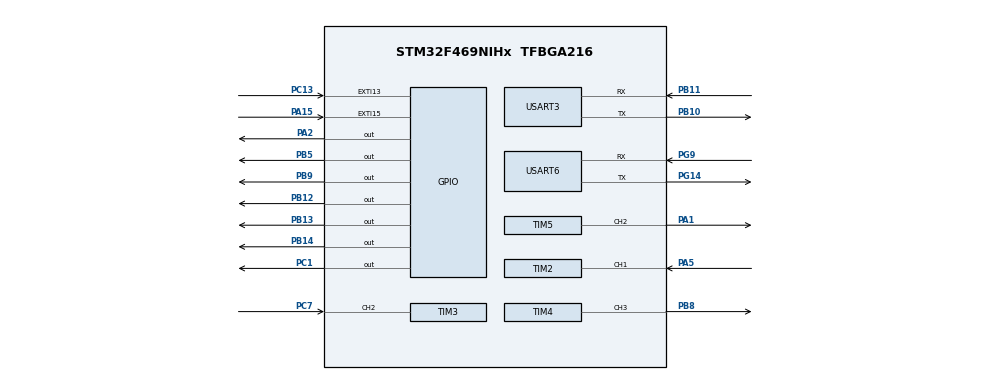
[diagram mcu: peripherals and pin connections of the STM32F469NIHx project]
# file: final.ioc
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Mcu.Family=STM32F4
Mcu.Name=STM32F469NIHx
Mcu.Package=TFBGA216
NVIC.EXTI15_10_IRQn=true\:0\:0\:false\:false\:true\:true
NVIC.PriorityGroup=NVIC_PRIORITYGROUP_4
NVIC.TIM1_UP_TIM10_IRQn=true\:0\:0\:false\:false\:true\:true
NVIC.TIM2_IRQn=true\:0\:0\:false\:false\:true\:true
NVIC.TIM3_IRQn=true\:0\:0\:false\:false\:true\:true
NVIC.TIM4_IRQn=true\:0\:0\:false\:false\:true\:true
NVIC.TIM5_IRQn=true\:0\:0\:false\:false\:true\:true
NVIC.USART3_IRQn=true\:0\:0\:false\:false\:true\:true
NVIC.USART6_IRQn=true\:0\:0\:false\:false\:true\:true
PA1.Signal=S_TIM5_CH2
PA15.GPIO_PuPd=GPIO_PULLDOWN
PA15.Signal=GPXTI15
PA2.Signal=GPIO_Output
PA5.Signal=S_TIM2_CH1_ETR
PB10.Mode=Asynchronous
PB10.Signal=USART3_TX
PB11.Mode=Asynchronous
PB11.Signal=USART3_RX
PB12.Signal=GPIO_Output
PB13.Signal=GPIO_Output
PB14.Signal=GPIO_Output
PB5.Signal=GPIO_Output
PB8.Signal=S_TIM4_CH3
PB9.Signal=GPIO_Output
PC1.Signal=GPIO_Output
PC13.GPIO_PuPd=GPIO_PULLDOWN
PC13.Signal=GPXTI13
PC7.Signal=S_TIM3_CH2
PG14.Mode=Asynchronous
PG14.Signal=USART6_TX
PG9.Mode=Asynchronous
PG9.Signal=USART6_RX
ProjectManager.HeapSize=0x200
ProjectManager.StackSize=0x400
ProjectManager.TargetToolchain=TrueSTUDIO
RCC.CortexFreq_Value=16000000
RCC.VCOOutputFreq_Value=192000000
SH.S_TIM2_CH1_ETR.0=TIM2_CH1,Input_Capture1_from_TI1
SH.S_TIM3_CH2.0=TIM3_CH2,Input_Capture2_from_TI2
SH.S_TIM4_CH3.0=TIM4_CH3,PWM Generation3 CH3
SH.S_TIM5_CH2.0=TIM5_CH2,PWM Generation2 CH2
TIM1.Period=10
TIM1.Prescaler=15
TIM2.Channel-Input_Capture1_from_TI1=TIM_CHANNEL_1
TIM2.ICPolarity_CH1=TIM_INPUTCHANNELPOLARITY_BOTHEDGE
TIM2.Period=0xffffffff
TIM2.Prescaler=7
TIM3.Channel-Input_Capture2_from_TI2=TIM_CHANNEL_2
TIM3.ICPolarity_CH2=TIM_INPUTCHANNELPOLARITY_BOTHEDGE
TIM3.Period=0xffff
TIM3.Prescaler=7
TIM4.Channel-PWM\ Generation3\ CH3=TIM_CHANNEL_3
TIM4.Period=100
TIM4.Prescaler=15
TIM4.Pulse-PWM\ Generation3\ CH3=90
TIM5.Channel-PWM\ Generation2\ CH2=TIM_CHANNEL_2
TIM5.Period=1000
TIM5.Prescaler=15
TIM5.Pulse-PWM\ Generation2\ CH2=500
USART3.VirtualMode=VM_ASYNC
USART6.VirtualMode=VM_ASYNC
VP_TIM1_VS_ClockSourceINT.Mode=Internal
board=final

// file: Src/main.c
/**
  ******************************************************************************
  * @file           : main.c
  * @brief          : Main program body
  ******************************************************************************
  ** This notice applies to any and all portions of this file
  * that are not between comment pairs USER CODE BEGIN and
  * USER CODE END. Other portions of this file, whether
  * inserted by the user or by software development tools
  * are owned by their respective copyright owners.
  *
  * COPYRIGHT(c) 2018 STMicroelectronics
  *
  * Redistribution and use in source and binary forms, with or without modification,
  * are permitted provided that the following conditions are met:
  *   1. Redistributions of source code must retain the above copyright notice,
  *      this list of conditions and the following disclaimer.
  *   2. Redistributions in binary form must reproduce the above copyright notice,
  *      this list of conditions and the following disclaimer in the documentation
  *      and/or other materials provided with the distribution.
  *   3. Neither the name of STMicroelectronics nor the names of its contributors
  *      may be used to endorse or promote products derived from this software
  *      without specific prior written permission.
  *
  * THIS SOFTWARE IS PROVIDED BY THE COPYRIGHT HOLDERS AND CONTRIBUTORS "AS IS"
  * AND ANY EXPRESS OR IMPLIED WARRANTIES, INCLUDING, BUT NOT LIMITED TO, THE
  * IMPLIED WARRANTIES OF MERCHANTABILITY AND FITNESS FOR A PARTICULAR PURPOSE ARE
  * DISCLAIMED. IN NO EVENT SHALL THE COPYRIGHT HOLDER OR CONTRIBUTORS BE LIABLE
  * FOR ANY DIRECT, INDIRECT, INCIDENTAL, SPECIAL, EXEMPLARY, OR CONSEQUENTIAL
  * DAMAGES (INCLUDING, BUT NOT LIMITED TO, PROCUREMENT OF SUBSTITUTE GOODS OR
  * SERVICES; LOSS OF USE, DATA, OR PROFITS; OR BUSINESS INTERRUPTION) HOWEVER
  * CAUSED AND ON ANY THEORY OF LIABILITY, WHETHER IN CONTRACT, STRICT LIABILITY,
  * OR TORT (INCLUDING NEGLIGENCE OR OTHERWISE) ARISING IN ANY WAY OUT OF THE USE
  * OF THIS SOFTWARE, EVEN IF ADVISED OF THE POSSIBILITY OF SUCH DAMAGE.
  *
  ******************************************************************************
  */
#include "main.h"
#include "stm32f4xx_hal.h"

TIM_HandleTypeDef htim1;
TIM_HandleTypeDef htim2;
TIM_HandleTypeDef htim3;
TIM_HandleTypeDef htim4;
TIM_HandleTypeDef htim5;

UART_HandleTypeDef huart3;
UART_HandleTypeDef huart6;

/* USER CODE BEGIN PV */
/* Private variables ---------------------------------------------------------*/
#define GET_DISTANCE_TIME 3
#define L_OFFSET 0
#define R_OFFSET 0
#define LRCALI_MINVALUE 0.2
#define LRCALI_MINRANGE 0.025
#define LRCALI_MAXVALUE 12
#define LRCALI_MAX_DIFFERENCE_VALUE 1.5
#define LRCALI_PWMWIDTH 700
#define LRCALI_ULPERIOD 7000 // xK = x us
#define LRCALI_SUCCESS_TIME 2
int AFCALI_PWMWIDTH = 500;
#define AFCALI_EX_PWMWIDTH 100

#define A4988_PWM_GRP GPIOA
#define A4988_PWM_PIN GPIO_PIN_1
#define A4988_DIR_GRP GPIOA  //GPIOG
#define A4988_DIR_PIN GPIO_PIN_2  //GPIO_PIN_12
#define LULT_TRIG_GRP GPIOB
#define LULT_TRIG_PIN GPIO_PIN_5
#define LULT_ECHO_GRP GPIOA
#define LULT_ECHO_PIN GPIO_PIN_5
#define RULT_TRIG_GRP GPIOB
#define RULT_TRIG_PIN GPIO_PIN_13
#define RULT_ECHO_GRP GPIOC
#define RULT_ECHO_PIN GPIO_PIN_7
#define DCMOT_PWM_GRP GPIOB
#define DCMOT_PWM_PIN GPIO_PIN_8
#define DCMOT_DIR_GRP GPIOB
#define DCMOT_DIR_PIN GPIO_PIN_14
/* USER CODE END PV */

void SystemClock_Config(void);
static void MX_GPIO_Init(void);
static void MX_TIM2_Init(void);
static void MX_USART6_UART_Init(void);
static void MX_TIM5_Init(void);
static void MX_TIM3_Init(void);
static void MX_TIM4_Init(void);
static void MX_TIM1_Init(void);
static void MX_USART3_UART_Init(void);

void HAL_TIM_MspPostInit(TIM_HandleTypeDef *htim);

/* USER CODE BEGIN PFP */
/* Private function prototypes -----------------------------------------------*/
void sendMsg(char*);
void tellWifi(char*);
void wifiInit();
void LRCalibrate(double,double);
/* USER CODE END PFP */

/* USER CODE BEGIN 0 */

//str to int
int str2int(char* str){
	int ans=0;
	for(int i=1;i<strlen(str)-1;i++){
		ans*=10;
		ans+=(str[i]-'0');
	}
	return ans;
}

// Sending msg to UART3
void sendMsg(char* str){
	HAL_UART_Transmit(&huart3,str,strlen(str),0xffff);
}

// Sending msg to UART6
void tellWifi(char* str){
	HAL_UART_Transmit(&huart6,str,strlen(str),0xffff);
}

void sendMsgThrWifi(char* str){
  char tosend[20]={0};
  sprintf(tosend,"AT+CIPSEND=0,%d\r\n",strlen(str));
  tellWifi(tosend);
  HAL_Delay(500);
  sprintf(tosend,"%s\r\n",str);
  tellWifi(tosend);
}

// Handling UART Receive
char rx6_buf[100],rx6_data,rx3_buf[100],rx3_data,state;
int rx6_index=0,rx3_index=0;
char state=0;
int recvNum=0;
void HAL_UART_RxCpltCallback(UART_HandleTypeDef *huart){
	if(huart->Instance==USART3){
		if(rx3_data=='U'){
			HAL_GPIO_WritePin(GPIOG,GPIO_PIN_12,1);
			HAL_TIM_PWM_Start_IT(&htim5,TIM_CHANNEL_2);
		}else if(rx3_data=='D'){
			HAL_GPIO_WritePin(GPIOG,GPIO_PIN_12,0);
			HAL_TIM_PWM_Start_IT(&htim5,TIM_CHANNEL_2);
		}else{
			if(rx3_index==0){
				for(int i=0;i<100;i++){
					rx3_buf[i]=0;
				}
			}
			rx3_buf[rx3_index++]=rx3_data;
			if(rx3_data=='\n'){
				rx3_index=0;
				char tosend[200]={0};
				sprintf(tosend,"[STM] Send to ESP : %s",rx3_buf);
				sendMsg(tosend);
				tellWifi(rx3_buf);
				sendMsg("[STM] Done\r\n");
			}
			HAL_UART_Receive_IT(&huart3,&rx3_data,1);
		}

	}
  if(huart->Instance==USART6){
	  	  if(rx6_index==0){
	  			for(int i=0;i<100;i++){
	  				rx6_buf[i]=0;
	  			}
	  	  }
	  	  if(rx6_data=='$' || rx6_index>0){
	  		  rx6_buf[rx6_index++]=rx6_data;
	  	  }
	  	  if(rx6_data=='%'){

			    char tosend[10]={0};
			    sprintf(tosend,"[ESP] %s\r\n",rx6_buf);
			    sendMsg(tosend);
			    if(rx6_index==3){
			    	state=rx6_buf[rx6_index-2];
			    }else{
			    	state='R';
			    	recvNum=str2int(rx6_buf);
			    }
			    rx6_index=0;
	  	  }
	  	HAL_UART_Receive_IT(&huart6,&rx6_data,1);
	}
}

// Handling wifi initialize
void wifiInit(){
	tellWifi("AT+CWMODE=2\r\n");
	HAL_Delay(500);
	tellWifi("AT+CIPMUX=1\r\n");
	HAL_Delay(500);

	tellWifi("AT+CIPSERVER=1,66\r\n");
	HAL_Delay(500);
	tellWifi("AT+CIPSTO=0\r\n");
	HAL_Delay(500);
}

// Handling LR calibration
int inta=0,intb=0,floata=0,floatb=0;
double distancea=0,distanceb=0;
double distancea_final=0,distanceb_final=0;
int ultrasonic=0;  // 0 for Ultrasonic1 , 1 for ultrasonic2 , 2 for motor
int LRCALI_STATE=0;
int motorMoveDone=0;
void LRCalibrate(double dl,double dr){
	  char tosend[50]={0};
	  inta=(int)dl;
	  floata=(int)((dl-inta)*100);
	  intb=(int)dr;
	  floatb=(int)((dr-intb)*100);
	  if(dl*LRCALI_MAXVALUE>dr && dr*LRCALI_MAXVALUE>dl){
		  if( (dr-dl)>LRCALI_MINVALUE ||(dl-dr)>LRCALI_MINVALUE ){
			  if(dl>dr){
				  sprintf(tosend,"> %d.%02d , %d.%02d -> Turn R\r\n",inta,floata,intb,floatb);
				  sendMsg(tosend);
				  HAL_GPIO_WritePin(DCMOT_DIR_GRP,DCMOT_DIR_PIN,1);
				  sprintf(tosend,"> > ReadPin: %d\r\n",HAL_GPIO_ReadPin(DCMOT_DIR_GRP,DCMOT_DIR_PIN));
				  sendMsg(tosend);
				  LRCALI_STATE=0;
				  motorMoveDone=0;
				  HAL_TIM_PWM_Start_IT(&htim4,TIM_CHANNEL_3);
			  }else if(dl<dr){
				  sprintf(tosend,"> %d.%02d , %d.%02d -> Turn L\r\n",inta,floata,intb,floatb);
				  sendMsg(tosend);
				  HAL_GPIO_WritePin(DCMOT_DIR_GRP,DCMOT_DIR_PIN,0);
				  sprintf(tosend,"> > ReadPin: %d\r\n",HAL_GPIO_ReadPin(DCMOT_DIR_GRP,DCMOT_DIR_PIN));
				  sendMsg(tosend);
				  motorMoveDone=0;
				  LRCALI_STATE=0;
				  HAL_TIM_PWM_Start_IT(&htim4,TIM_CHANNEL_3);
			  }
		  }else{
			  sprintf(tosend,"> %d.%02d , %d.%02d -> DONE\r\n",inta,floata,intb,floatb);
			  sendMsg(tosend);
			  LRCALI_STATE++;
			  motorMoveDone=1;
			  //return;
		  }
	  }else{
		  sprintf(tosend,"> %d.%02d , %d.%02d -> X\r\n",inta,floata,intb,floatb);
		  sendMsg(tosend);
	  }

	  ultrasonic=0;
}

// Handling Ultrasonic Echo InputCapture
void HAL_TIM_IC_CaptureCallback(TIM_HandleTypeDef* htim){
	if(htim->Instance==TIM2){
		if(HAL_GPIO_ReadPin(LULT_ECHO_GRP,LULT_ECHO_PIN)==1){
			__HAL_TIM_SET_COUNTER(&htim2,0);
		}else{
			int cnt=__HAL_TIM_GET_COUNTER(&htim2);
			distancea=(cnt/(double)116);
			distancea+=L_OFFSET;
			ultrasonic=1;
		}
	}
	if(htim->Instance==TIM3){
		if(HAL_GPIO_ReadPin(RULT_ECHO_GRP,RULT_ECHO_PIN)==1){
			__HAL_TIM_SET_COUNTER(&htim3,0);
		}else{
			int cnt=__HAL_TIM_GET_COUNTER(&htim3);
			distanceb=(cnt/(double)116);
			distanceb+=R_OFFSET;
			ultrasonic=2;
		}
	}
}

// A 10 us timer for ultrasonic interval
int tim1Count=LRCALI_ULPERIOD;
void HAL_TIM_PeriodElapsedCallback(TIM_HandleTypeDef *htim){
	if(htim->Instance==TIM1){
		if(tim1Count<LRCALI_ULPERIOD){
			tim1Count++;
		}else{
			HAL_TIM_Base_Stop_IT(&htim1);
			if(ultrasonic==0){
				if(HAL_GPIO_ReadPin(LULT_TRIG_GRP,LULT_TRIG_PIN)==0){
					HAL_GPIO_WritePin(LULT_TRIG_GRP,LULT_TRIG_PIN,1);
					HAL_TIM_Base_Start_IT(&htim1);
				}else{
					tim1Count=0;
					HAL_GPIO_WritePin(LULT_TRIG_GRP,LULT_TRIG_PIN,0);
				}
			}else if(ultrasonic==1){
				if(HAL_GPIO_ReadPin(RULT_TRIG_GRP,RULT_TRIG_PIN)==0){
					HAL_GPIO_WritePin(RULT_TRIG_GRP,RULT_TRIG_PIN,1);
					HAL_TIM_Base_Start_IT(&htim1);
				}else{
					tim1Count=0;
					HAL_GPIO_WritePin(RULT_TRIG_GRP,RULT_TRIG_PIN,0);
				}
			}
		}
	}
}

// Handling PWM Pulse
int pwm5Count=0,pwm4Count=0,a4988MoveDone=0,accumMove=0;
char focusStepState='N'; //N for normal, E for extreme
void HAL_TIM_PWM_PulseFinishedCallback(TIM_HandleTypeDef *htim){
  //DC MOTOR PWM
  if(htim->Instance==TIM4){
		if(pwm4Count++>=LRCALI_PWMWIDTH){
			HAL_TIM_PWM_Stop_IT(&htim4,TIM_CHANNEL_3);
			pwm4Count=0;
			motorMoveDone=1;
		}
	}
  //A4988 PWM
  if(htim->Instance==TIM5){
	  if(focusStepState=='N'){
		if(pwm5Count++>=AFCALI_PWMWIDTH){
			HAL_TIM_PWM_Stop_IT(&htim5,TIM_CHANNEL_2);
			pwm5Count=0;
			accumMove+=1;
			a4988MoveDone=1;
		}
	  }else{
		if(pwm5Count++>=AFCALI_EX_PWMWIDTH){
			HAL_TIM_PWM_Stop_IT(&htim5,TIM_CHANNEL_2);
			pwm5Count=0;
			a4988MoveDone=1;
			focusStepState='N';
			sendMsg("[STM] Recover Done\r\n");
		}
	  }
	}
}

char pwmMode='N'; //N for normal , I for IT
char focusState='N'; // N for normal, T for top, B for Bottom

// TODO Handling TOP BUTTOM
void HAL_GPIO_EXTI_Callback(uint16_t GPIO_Pin){
	if(GPIO_Pin==GPIO_PIN_13){
		//top
		if(pwmMode=='N'){
			HAL_TIM_PWM_Stop_IT(&htim5,TIM_CHANNEL_2);
		}else{
			HAL_TIM_PWM_Stop(&htim5,TIM_CHANNEL_2);
		}
		focusStepState='E';
		HAL_GPIO_WritePin(A4988_DIR_GRP,A4988_DIR_PIN,0);
		HAL_TIM_PWM_Start_IT(&htim5,TIM_CHANNEL_2);
		pwm5Count=0;
		focusState='T';
		a4988MoveDone=1;
	    sendMsg("[STM] <<TOP>>\r\n");

	}else if(GPIO_Pin==GPIO_PIN_15){
		//bottom
		if(pwmMode=='N'){
			HAL_TIM_PWM_Stop_IT(&htim5,TIM_CHANNEL_2);
		}else{
			HAL_TIM_PWM_Stop(&htim5,TIM_CHANNEL_2);
		}
		HAL_GPIO_WritePin(A4988_DIR_GRP,A4988_DIR_PIN,1);
		focusStepState='E';
		HAL_TIM_PWM_Start_IT(&htim5,TIM_CHANNEL_2);
		pwm5Count=0;
		focusState='B';
		a4988MoveDone=1;
		sendMsg("[STM] <<BOTTOM>>\r\n");
	}
}

/* USER CODE END 0 */

int main(void)
{

  /* MCU Configuration----------------------------------------------------------*/

  /* Reset of all peripherals, Initializes the Flash interface and the Systick. */
  HAL_Init();

  /* Configure the system clock */
  SystemClock_Config();

  /* Initialize all configured peripherals */
  MX_GPIO_Init();
  MX_TIM2_Init();
  MX_USART6_UART_Init();
  MX_TIM5_Init();
  MX_TIM3_Init();
  MX_TIM4_Init();
  MX_TIM1_Init();
  MX_USART3_UART_Init();
  /* USER CODE BEGIN 2 */
  sendMsg("[STM] Initializing Board...\r\n");
  HAL_UART_Receive_IT(&huart6,&rx6_data,1);
  HAL_UART_Receive_IT(&huart3,&rx3_data,1);
  HAL_GPIO_WritePin(GPIOC,GPIO_PIN_1,1);
  HAL_GPIO_WritePin(GPIOB,GPIO_PIN_12,1);
  TIM4->CCR3=0;
  sendMsg("[STM] Board Ready\r\n");
  HAL_Delay(500);

  sendMsg("[STM] Initializing Wifi...\r\n");
  HAL_Delay(500);

  //wifiInit();

	tellWifi("AT+CWMODE=2\r\n");
	HAL_Delay(500);
	tellWifi("AT+CIPMUX=1\r\n");
	HAL_Delay(500);
	tellWifi("AT+CIPSTO=0\r\n");
	HAL_Delay(500);
	tellWifi("AT+CIPSERVER=1,66\r\n");
	HAL_Delay(500);

  sendMsg("[STM] Wifi Ready\r\n");
  HAL_Delay(500);

  sendMsg("[STM] Wait for APP. (Please connect to AP:Projector)");

  while(state!='S'){
	  HAL_Delay(100);
  }

  //LR Calibration
  HAL_TIM_IC_Start_IT(&htim2,TIM_CHANNEL_1);
  HAL_TIM_IC_Start_IT(&htim3,TIM_CHANNEL_2);

  sendMsg("[STM] LR-Calibration START\r\n");
  HAL_Delay(500);
  int LR_done=0;
  while(LRCALI_STATE != LRCALI_SUCCESS_TIME){
	  distancea_final=0;
	  distanceb_final=0;
	  for(int i=0;i<GET_DISTANCE_TIME;i++){
		  char tosend[50]={0};

		  HAL_TIM_Base_Start_IT(&htim1);
		  while(ultrasonic!=1){
			  HAL_Delay(100);
		  }
		  HAL_TIM_Base_Start_IT(&htim1);
		  while(ultrasonic!=2){
			  HAL_Delay(100);
		  }
		  ultrasonic=0;
		  inta=(int)distancea;
		  floata=(int)((distancea-inta)*100);
		  intb=(int)distanceb;
		  floatb=(int)((distanceb-intb)*100);
		  if( distancea-distanceb<LRCALI_MAX_DIFFERENCE_VALUE && distanceb-distancea<LRCALI_MAX_DIFFERENCE_VALUE ){
			  sprintf(tosend,"[ULT] Getting distance... %d.%02d,%d.%02d -> Write\r\n",inta,floata,intb,floatb);
			  //sendMsg(tosend);
			  distancea_final+=distancea;
			  distanceb_final+=distanceb;
		  }else{
			  sprintf(tosend,"[ULT] Getting distance... %d.%02d,%d.%02d -> Pass\r\n",inta,floata,intb,floatb);
			  //sendMsg(tosend);
			  i--;
		  }
	  }
	  ultrasonic=2;
	  distancea_final/=GET_DISTANCE_TIME;
	  distanceb_final/=GET_DISTANCE_TIME;
	  LRCalibrate(distancea_final,distanceb_final);
	  while(!motorMoveDone){
		  HAL_Delay(100);
	  }
	  HAL_Delay(50);
  }

  HAL_Delay(1000);
  sendMsg("[STM] LR-Calibration FINISH\r\n");

  //TODO AF communication and flow
  sendMsg("[STM] Focus-Calibration START\r\n");
  //move to bottom
  HAL_GPIO_WritePin(A4988_DIR_GRP,A4988_DIR_PIN,0);
  pwmMode='N';
  HAL_TIM_PWM_Start(&htim5,TIM_CHANNEL_2);
  while(focusState!='B'){
	  HAL_Delay(100);
  }

  //move upward and send 'N' after moving until TOP (send 'T')
  HAL_Delay(500);
  sendMsgThrWifi("N\n");

  HAL_GPIO_WritePin(A4988_DIR_GRP,A4988_DIR_PIN,1);
  pwmMode='I';
  sendMsg("[STM] Start Cruising\r\n");

  while(1){
	  while(state!='U' && state!='R'){
		  HAL_Delay(10);
	  }
	  if(state=='R'){
		  break;
	  }
	  sendMsg("[STM] Moving UPWARD for one step\r\n");
	  a4988MoveDone=0;
	  HAL_TIM_PWM_Start_IT(&htim5,TIM_CHANNEL_2);
	  while(a4988MoveDone==0){
		  HAL_Delay(10);
	  }
	  sendMsg("[STM] > Done\r\n");
	  state=0;
	  HAL_Delay(500);
	  if(focusState!='T'){
		  sendMsgThrWifi("N\n");
	  }else{
		  sendMsgThrWifi("T\n");
	  }
  }
  //TODO move downward base on recvNum

  char tosend[50]={0};
  sprintf(tosend,"[STM] Start moving %d step downward\r\n",recvNum);
  sendMsg(tosend);
  HAL_GPIO_WritePin(A4988_DIR_GRP,A4988_DIR_PIN,0);
  for(int i=0;i<recvNum;i++){
	  a4988MoveDone=0;
	  HAL_TIM_PWM_Start_IT(&htim5,TIM_CHANNEL_2);
	  while(a4988MoveDone==0){
		  HAL_Delay(10);
	  }
  }
  state=0;
  sprintf(tosend,"[STM] Moving %d step downward Done\r\n",recvNum);
  sendMsgThrWifi("K\n");

  //TODO Fine tune
  AFCALI_PWMWIDTH=100;
  while(1){
	  while(state==0){
		  HAL_Delay(10);
	  }
	  switch(state){
	  case 'U':
		  state=0;
		  a4988MoveDone=0;
		  pwmMode='I';
		  HAL_GPIO_WritePin(A4988_DIR_GRP,A4988_DIR_PIN,1);
		  HAL_TIM_PWM_Start_IT(&htim5,TIM_CHANNEL_2);
		  while(a4988MoveDone==0){
			  HAL_Delay(10);
		  }
		  sendMsg("[STM] FineTune- Upward Done\r\n");
		  HAL_Delay(500);
		  sendMsgThrWifi("K\n");
		  break;
	  case 'D':

		  state=0;
		  a4988MoveDone=0;
		  pwmMode='I';
		  HAL_GPIO_WritePin(A4988_DIR_GRP,A4988_DIR_PIN,0);
		  HAL_TIM_PWM_Start_IT(&htim5,TIM_CHANNEL_2);
		  while(a4988MoveDone==0){
			  HAL_Delay(10);
		  }
		  sendMsg("[STM] FineTune- Downward Done\r\n");
		  HAL_Delay(500);
		  sendMsgThrWifi("K\n");
		  break;
	  //TODO top bottom finish
	  case 'T':

		  state=0;
		  pwmMode='N';
		  a4988MoveDone=0;
		  HAL_GPIO_WritePin(A4988_DIR_GRP,A4988_DIR_PIN,1);
		  HAL_TIM_PWM_Start(&htim5,TIM_CHANNEL_2);
		  while(a4988MoveDone==0){
			  HAL_Delay(10);
		  }
		  sendMsg("[STM] FineTune- Top Done\r\n");
		  sendMsgThrWifi("K\n");
		  break;
	  case 'B':

		  state=0;
		  pwmMode='N';
		  a4988MoveDone=0;
		  HAL_GPIO_WritePin(A4988_DIR_GRP,A4988_DIR_PIN,0);
		  HAL_TIM_PWM_Start(&htim5,TIM_CHANNEL_2);
		  while(a4988MoveDone==0){
			  HAL_Delay(10);
		  }
		  sendMsg("[STM] FineTune- Bottom Done\r\n");
		  sendMsgThrWifi("K\n");

		  break;
	  case 'F':
		  sendMsg("[STM] Auto Focus Fine Tune Finish\r\n");
		  state=0;
		  break;
	  }

  }

  /* USER CODE END 2 */

  /* Infinite loop */
  while (1)
  {

  }

}

void SystemClock_Config(void)
{

  RCC_OscInitTypeDef RCC_OscInitStruct;
  RCC_ClkInitTypeDef RCC_ClkInitStruct;

    /**Configure the main internal regulator output voltage
    */
  __HAL_RCC_PWR_CLK_ENABLE();

  __HAL_PWR_VOLTAGESCALING_CONFIG(PWR_REGULATOR_VOLTAGE_SCALE3);

    /**Initializes the CPU, AHB and APB busses clocks
    */
  RCC_OscInitStruct.OscillatorType = RCC_OSCILLATORTYPE_HSI;
  RCC_OscInitStruct.HSIState = RCC_HSI_ON;
  RCC_OscInitStruct.HSICalibrationValue = 16;
  RCC_OscInitStruct.PLL.PLLState = RCC_PLL_NONE;
  if (HAL_RCC_OscConfig(&RCC_OscInitStruct) != HAL_OK)
  {
    _Error_Handler(__FILE__, __LINE__);
  }

    /**Initializes the CPU, AHB and APB busses clocks
    */
  RCC_ClkInitStruct.ClockType = RCC_CLOCKTYPE_HCLK|RCC_CLOCKTYPE_SYSCLK
                              |RCC_CLOCKTYPE_PCLK1|RCC_CLOCKTYPE_PCLK2;
  RCC_ClkInitStruct.SYSCLKSource = RCC_SYSCLKSOURCE_HSI;
  RCC_ClkInitStruct.AHBCLKDivider = RCC_SYSCLK_DIV1;
  RCC_ClkInitStruct.APB1CLKDivider = RCC_HCLK_DIV1;
  RCC_ClkInitStruct.APB2CLKDivider = RCC_HCLK_DIV1;

  if (HAL_RCC_ClockConfig(&RCC_ClkInitStruct, FLASH_LATENCY_0) != HAL_OK)
  {
    _Error_Handler(__FILE__, __LINE__);
  }

    /**Configure the Systick interrupt time
    */
  HAL_SYSTICK_Config(HAL_RCC_GetHCLKFreq()/1000);

    /**Configure the Systick
    */
  HAL_SYSTICK_CLKSourceConfig(SYSTICK_CLKSOURCE_HCLK);

  /* SysTick_IRQn interrupt configuration */
  HAL_NVIC_SetPriority(SysTick_IRQn, 0, 0);
}

/* TIM1 init function */
static void MX_TIM1_Init(void)
{

  TIM_ClockConfigTypeDef sClockSourceConfig;
  TIM_MasterConfigTypeDef sMasterConfig;

  htim1.Instance = TIM1;
  htim1.Init.Prescaler = 15;
  htim1.Init.CounterMode = TIM_COUNTERMODE_UP;
  htim1.Init.Period = 10;
  htim1.Init.ClockDivision = TIM_CLOCKDIVISION_DIV1;
  htim1.Init.RepetitionCounter = 0;
  if (HAL_TIM_Base_Init(&htim1) != HAL_OK)
  {
    _Error_Handler(__FILE__, __LINE__);
  }

  sClockSourceConfig.ClockSource = TIM_CLOCKSOURCE_INTERNAL;
  if (HAL_TIM_ConfigClockSource(&htim1, &sClockSourceConfig) != HAL_OK)
  {
    _Error_Handler(__FILE__, __LINE__);
  }

  sMasterConfig.MasterOutputTrigger = TIM_TRGO_RESET;
  sMasterConfig.MasterSlaveMode = TIM_MASTERSLAVEMODE_DISABLE;
  if (HAL_TIMEx_MasterConfigSynchronization(&htim1, &sMasterConfig) != HAL_OK)
  {
    _Error_Handler(__FILE__, __LINE__);
  }

}

/* TIM2 init function */
static void MX_TIM2_Init(void)
{

  TIM_MasterConfigTypeDef sMasterConfig;
  TIM_IC_InitTypeDef sConfigIC;

  htim2.Instance = TIM2;
  htim2.Init.Prescaler = 7;
  htim2.Init.CounterMode = TIM_COUNTERMODE_UP;
  htim2.Init.Period = 0xffffffff;
  htim2.Init.ClockDivision = TIM_CLOCKDIVISION_DIV1;
  if (HAL_TIM_IC_Init(&htim2) != HAL_OK)
  {
    _Error_Handler(__FILE__, __LINE__);
  }

  sMasterConfig.MasterOutputTrigger = TIM_TRGO_RESET;
  sMasterConfig.MasterSlaveMode = TIM_MASTERSLAVEMODE_DISABLE;
  if (HAL_TIMEx_MasterConfigSynchronization(&htim2, &sMasterConfig) != HAL_OK)
  {
    _Error_Handler(__FILE__, __LINE__);
  }

  sConfigIC.ICPolarity = TIM_INPUTCHANNELPOLARITY_BOTHEDGE;
  sConfigIC.ICSelection = TIM_ICSELECTION_DIRECTTI;
  sConfigIC.ICPrescaler = TIM_ICPSC_DIV1;
  sConfigIC.ICFilter = 0;
  if (HAL_TIM_IC_ConfigChannel(&htim2, &sConfigIC, TIM_CHANNEL_1) != HAL_OK)
  {
    _Error_Handler(__FILE__, __LINE__);
  }

}

/* TIM3 init function */
static void MX_TIM3_Init(void)
{

  TIM_MasterConfigTypeDef sMasterConfig;
  TIM_IC_InitTypeDef sConfigIC;

  htim3.Instance = TIM3;
  htim3.Init.Prescaler = 7;
  htim3.Init.CounterMode = TIM_COUNTERMODE_UP;
  htim3.Init.Period = 0xffff;
  htim3.Init.ClockDivision = TIM_CLOCKDIVISION_DIV1;
  if (HAL_TIM_IC_Init(&htim3) != HAL_OK)
  {
    _Error_Handler(__FILE__, __LINE__);
  }

  sMasterConfig.MasterOutputTrigger = TIM_TRGO_RESET;
  sMasterConfig.MasterSlaveMode = TIM_MASTERSLAVEMODE_DISABLE;
  if (HAL_TIMEx_MasterConfigSynchronization(&htim3, &sMasterConfig) != HAL_OK)
  {
    _Error_Handler(__FILE__, __LINE__);
  }

  sConfigIC.ICPolarity = TIM_INPUTCHANNELPOLARITY_BOTHEDGE;
  sConfigIC.ICSelection = TIM_ICSELECTION_DIRECTTI;
  sConfigIC.ICPrescaler = TIM_ICPSC_DIV1;
  sConfigIC.ICFilter = 0;
  if (HAL_TIM_IC_ConfigChannel(&htim3, &sConfigIC, TIM_CHANNEL_2) != HAL_OK)
  {
    _Error_Handler(__FILE__, __LINE__);
  }

}

/* TIM4 init function */
static void MX_TIM4_Init(void)
{

  TIM_MasterConfigTypeDef sMasterConfig;
  TIM_OC_InitTypeDef sConfigOC;

  htim4.Instance = TIM4;
  htim4.Init.Prescaler = 15;
  htim4.Init.CounterMode = TIM_COUNTERMODE_UP;
  htim4.Init.Period = 100;
  htim4.Init.ClockDivision = TIM_CLOCKDIVISION_DIV1;
  if (HAL_TIM_PWM_Init(&htim4) != HAL_OK)
  {
    _Error_Handler(__FILE__, __LINE__);
  }

  sMasterConfig.MasterOutputTrigger = TIM_TRGO_RESET;
  sMasterConfig.MasterSlaveMode = TIM_MASTERSLAVEMODE_DISABLE;
  if (HAL_TIMEx_MasterConfigSynchronization(&htim4, &sMasterConfig) != HAL_OK)
  {
    _Error_Handler(__FILE__, __LINE__);
  }

  sConfigOC.OCMode = TIM_OCMODE_PWM1;
  sConfigOC.Pulse = 90;
  sConfigOC.OCPolarity = TIM_OCPOLARITY_HIGH;
  sConfigOC.OCFastMode = TIM_OCFAST_DISABLE;
  if (HAL_TIM_PWM_ConfigChannel(&htim4, &sConfigOC, TIM_CHANNEL_3) != HAL_OK)
  {
    _Error_Handler(__FILE__, __LINE__);
  }

  HAL_TIM_MspPostInit(&htim4);

}

/* TIM5 init function */
static void MX_TIM5_Init(void)
{

  TIM_MasterConfigTypeDef sMasterConfig;
  TIM_OC_InitTypeDef sConfigOC;

  htim5.Instance = TIM5;
  htim5.Init.Prescaler = 15;
  htim5.Init.CounterMode = TIM_COUNTERMODE_UP;
  htim5.Init.Period = 1000;
  htim5.Init.ClockDivision = TIM_CLOCKDIVISION_DIV1;
  if (HAL_TIM_PWM_Init(&htim5) != HAL_OK)
  {
    _Error_Handler(__FILE__, __LINE__);
  }

  sMasterConfig.MasterOutputTrigger = TIM_TRGO_RESET;
  sMasterConfig.MasterSlaveMode = TIM_MASTERSLAVEMODE_DISABLE;
  if (HAL_TIMEx_MasterConfigSynchronization(&htim5, &sMasterConfig) != HAL_OK)
  {
    _Error_Handler(__FILE__, __LINE__);
  }

  sConfigOC.OCMode = TIM_OCMODE_PWM1;
  sConfigOC.Pulse = 500;
  sConfigOC.OCPolarity = TIM_OCPOLARITY_HIGH;
  sConfigOC.OCFastMode = TIM_OCFAST_DISABLE;
  if (HAL_TIM_PWM_ConfigChannel(&htim5, &sConfigOC, TIM_CHANNEL_2) != HAL_OK)
  {
    _Error_Handler(__FILE__, __LINE__);
  }

  HAL_TIM_MspPostInit(&htim5);

}

/* USART3 init function */
static void MX_USART3_UART_Init(void)
{

  huart3.Instance = USART3;
  huart3.Init.BaudRate = 115200;
  huart3.Init.WordLength = UART_WORDLENGTH_8B;
  huart3.Init.StopBits = UART_STOPBITS_1;
  huart3.Init.Parity = UART_PARITY_NONE;
  huart3.Init.Mode = UART_MODE_TX_RX;
  huart3.Init.HwFlowCtl = UART_HWCONTROL_NONE;
  huart3.Init.OverSampling = UART_OVERSAMPLING_16;
  if (HAL_UART_Init(&huart3) != HAL_OK)
  {
    _Error_Handler(__FILE__, __LINE__);
  }

}

/* USART6 init function */
static void MX_USART6_UART_Init(void)
{

  huart6.Instance = USART6;
  huart6.Init.BaudRate = 115200;
  huart6.Init.WordLength = UART_WORDLENGTH_8B;
  huart6.Init.StopBits = UART_STOPBITS_1;
  huart6.Init.Parity = UART_PARITY_NONE;
  huart6.Init.Mode = UART_MODE_TX_RX;
  huart6.Init.HwFlowCtl = UART_HWCONTROL_NONE;
  huart6.Init.OverSampling = UART_OVERSAMPLING_16;
  if (HAL_UART_Init(&huart6) != HAL_OK)
  {
    _Error_Handler(__FILE__, __LINE__);
  }

}

/** Configure pins as
        * Analog
        * Input
        * Output
        * EVENT_OUT
        * EXTI
*/
static void MX_GPIO_Init(void)
{

  GPIO_InitTypeDef GPIO_InitStruct;

  /* GPIO Ports Clock Enable */
  __HAL_RCC_GPIOG_CLK_ENABLE();
  __HAL_RCC_GPIOB_CLK_ENABLE();
  __HAL_RCC_GPIOA_CLK_ENABLE();
  __HAL_RCC_GPIOC_CLK_ENABLE();

  /*Configure GPIO pin Output Level */
  HAL_GPIO_WritePin(GPIOB, GPIO_PIN_5|GPIO_PIN_9|GPIO_PIN_13|GPIO_PIN_12
                          |GPIO_PIN_14, GPIO_PIN_RESET);

  /*Configure GPIO pin Output Level */
  HAL_GPIO_WritePin(GPIOC, GPIO_PIN_1, GPIO_PIN_RESET);

  /*Configure GPIO pin Output Level */
  HAL_GPIO_WritePin(GPIOA, GPIO_PIN_2, GPIO_PIN_RESET);

  /*Configure GPIO pins : PB5 PB9 PB13 PB12
                           PB14 */
  GPIO_InitStruct.Pin = GPIO_PIN_5|GPIO_PIN_9|GPIO_PIN_13|GPIO_PIN_12
                          |GPIO_PIN_14;
  GPIO_InitStruct.Mode = GPIO_MODE_OUTPUT_PP;
  GPIO_InitStruct.Pull = GPIO_NOPULL;
  GPIO_InitStruct.Speed = GPIO_SPEED_FREQ_LOW;
  HAL_GPIO_Init(GPIOB, &GPIO_InitStruct);

  /*Configure GPIO pin : PA15 */
  GPIO_InitStruct.Pin = GPIO_PIN_15;
  GPIO_InitStruct.Mode = GPIO_MODE_IT_RISING;
  GPIO_InitStruct.Pull = GPIO_PULLDOWN;
  HAL_GPIO_Init(GPIOA, &GPIO_InitStruct);

  /*Configure GPIO pin : PC13 */
  GPIO_InitStruct.Pin = GPIO_PIN_13;
  GPIO_InitStruct.Mode = GPIO_MODE_IT_RISING;
  GPIO_InitStruct.Pull = GPIO_PULLDOWN;
  HAL_GPIO_Init(GPIOC, &GPIO_InitStruct);

  /*Configure GPIO pin : PC1 */
  GPIO_InitStruct.Pin = GPIO_PIN_1;
  GPIO_InitStruct.Mode = GPIO_MODE_OUTPUT_PP;
  GPIO_InitStruct.Pull = GPIO_NOPULL;
  GPIO_InitStruct.Speed = GPIO_SPEED_FREQ_LOW;
  HAL_GPIO_Init(GPIOC, &GPIO_InitStruct);

  /*Configure GPIO pin : PA2 */
  GPIO_InitStruct.Pin = GPIO_PIN_2;
  GPIO_InitStruct.Mode = GPIO_MODE_OUTPUT_PP;
  GPIO_InitStruct.Pull = GPIO_NOPULL;
  GPIO_InitStruct.Speed = GPIO_SPEED_FREQ_LOW;
  HAL_GPIO_Init(GPIOA, &GPIO_InitStruct);

  /* EXTI interrupt init*/
  HAL_NVIC_SetPriority(EXTI15_10_IRQn, 0, 0);
  HAL_NVIC_EnableIRQ(EXTI15_10_IRQn);

}

void _Error_Handler(char *file, int line)
{
  while(1)
  {
  }
}

/************************ (C) COPYRIGHT STMicroelectronics *****END OF FILE****/
